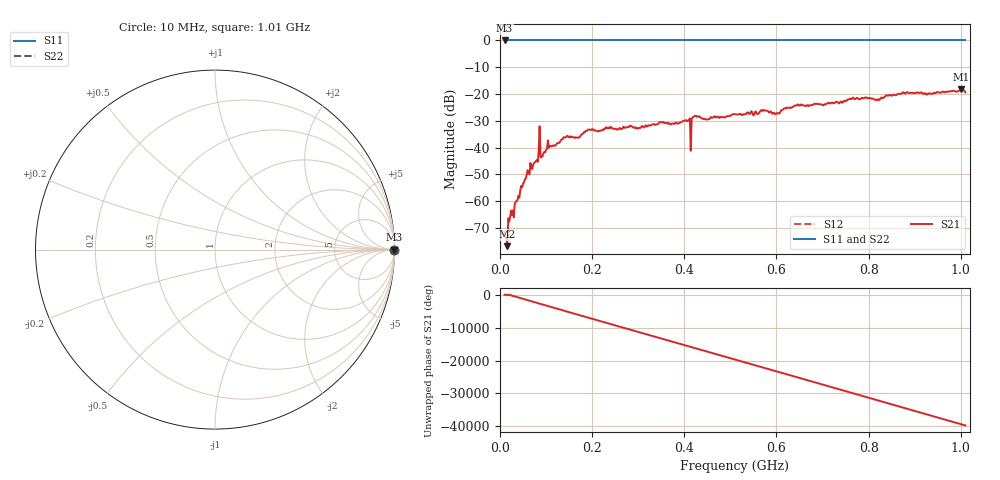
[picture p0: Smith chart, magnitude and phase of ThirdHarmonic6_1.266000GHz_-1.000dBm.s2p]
! 8/16/2025 1:39:39 PM
! C:\ANRITSUVNA\TEMP\TEMP.S2P
! CHANNEL.1
! TR.MEASUREMENT
! RAW.DATA
! RF.CORRECTION.OFF
! AVERAGING.OFF
! IF.BANDWIDTH: 5KHZ
! SWEEPTYPE:  FREQ.SWEEP(Linear)
! Reference Plane Port Info
! PORT:  PORT1  PORT2
! DISTANCE:  0  m  0  m
! TIME:  0  s  0  s
! PHASE.OFFSET:  0  deg.  0  deg.
! LOSS:  0  dB  0  dB
! REF.LOSS:  0  dB  0  dB
! REF.FREQ:  0  Hz  0  Hz
! Power Info
! POWER:  -20  dBm  -20  dBm
! EFF.POWER:  -20  dBm  -20  dBm
! SOURCE.ATTEN:  0  dB  0  dB
! TEST.ATTEN:  0  dB  0  dB
# GHZ S RI R 50.0
! FREQ.GHZ  S11RE  S11IM  S21RE  S21IM  S12RE  S12IM  S22RE  S22IM
!; PortSelection: Port_12
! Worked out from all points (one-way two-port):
!   501 points, 10 MHz to 1.01 GHz, reference 50 ohm
!   highest |S21| = -18.26 dB at 1 GHz (marker M1); lowest = -76.8 dB at 16 MHz (marker M2)
!   lowest |S11| = 0.0 dB at 10 MHz (marker M3)
!   |S11| at or under -10 dB: nowhere
!   |S22| runs from 0.0 to 0.0 dB; largest |S21 - S12| = 1.1
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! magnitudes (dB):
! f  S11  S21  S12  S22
! 10 MHz  0.0  -71.4  0.0  0.0
! 16 MHz  0.0  -76.8  0.0  0.0
! 22 MHz  0.0  -65.9  0.0  0.0
! 62 MHz  0.0  -49.5  0.0  0.0
! 78 MHz  0.0  -45.0  0.0  0.0
! 82 MHz  0.0  -45.3  0.0  0.0
! 90 MHz  0.0  -43.3  0.0  0.0
! 92 MHz  0.0  -43.3  0.0  0.0
! 106 MHz  0.0  -40.1  0.0  0.0
! 142 MHz  0.0  -36.2  0.0  0.0
! 178 MHz  0.0  -35.0  0.0  0.0
! 344 MHz  0.0  -31.0  0.0  0.0
! 408 MHz  0.0  -30.0  0.0  0.0
! 410 MHz  0.0  -29.7  0.0  0.0
! 418 MHz  0.0  -28.7  0.0  0.0
! 422 MHz  0.0  -28.3  0.0  0.0
! 510 MHz  0.0  -27.5  0.0  0.0
! 602 MHz  0.0  -27.0  0.0  0.0
! 678 MHz  0.0  -24.1  0.0  0.0
! 844 MHz  0.0  -20.5  0.0  0.0
! 1 GHz  0.0  -18.3  0.0  0.0
! 1.01 GHz  0.0  -19.4  0.0  0.0
